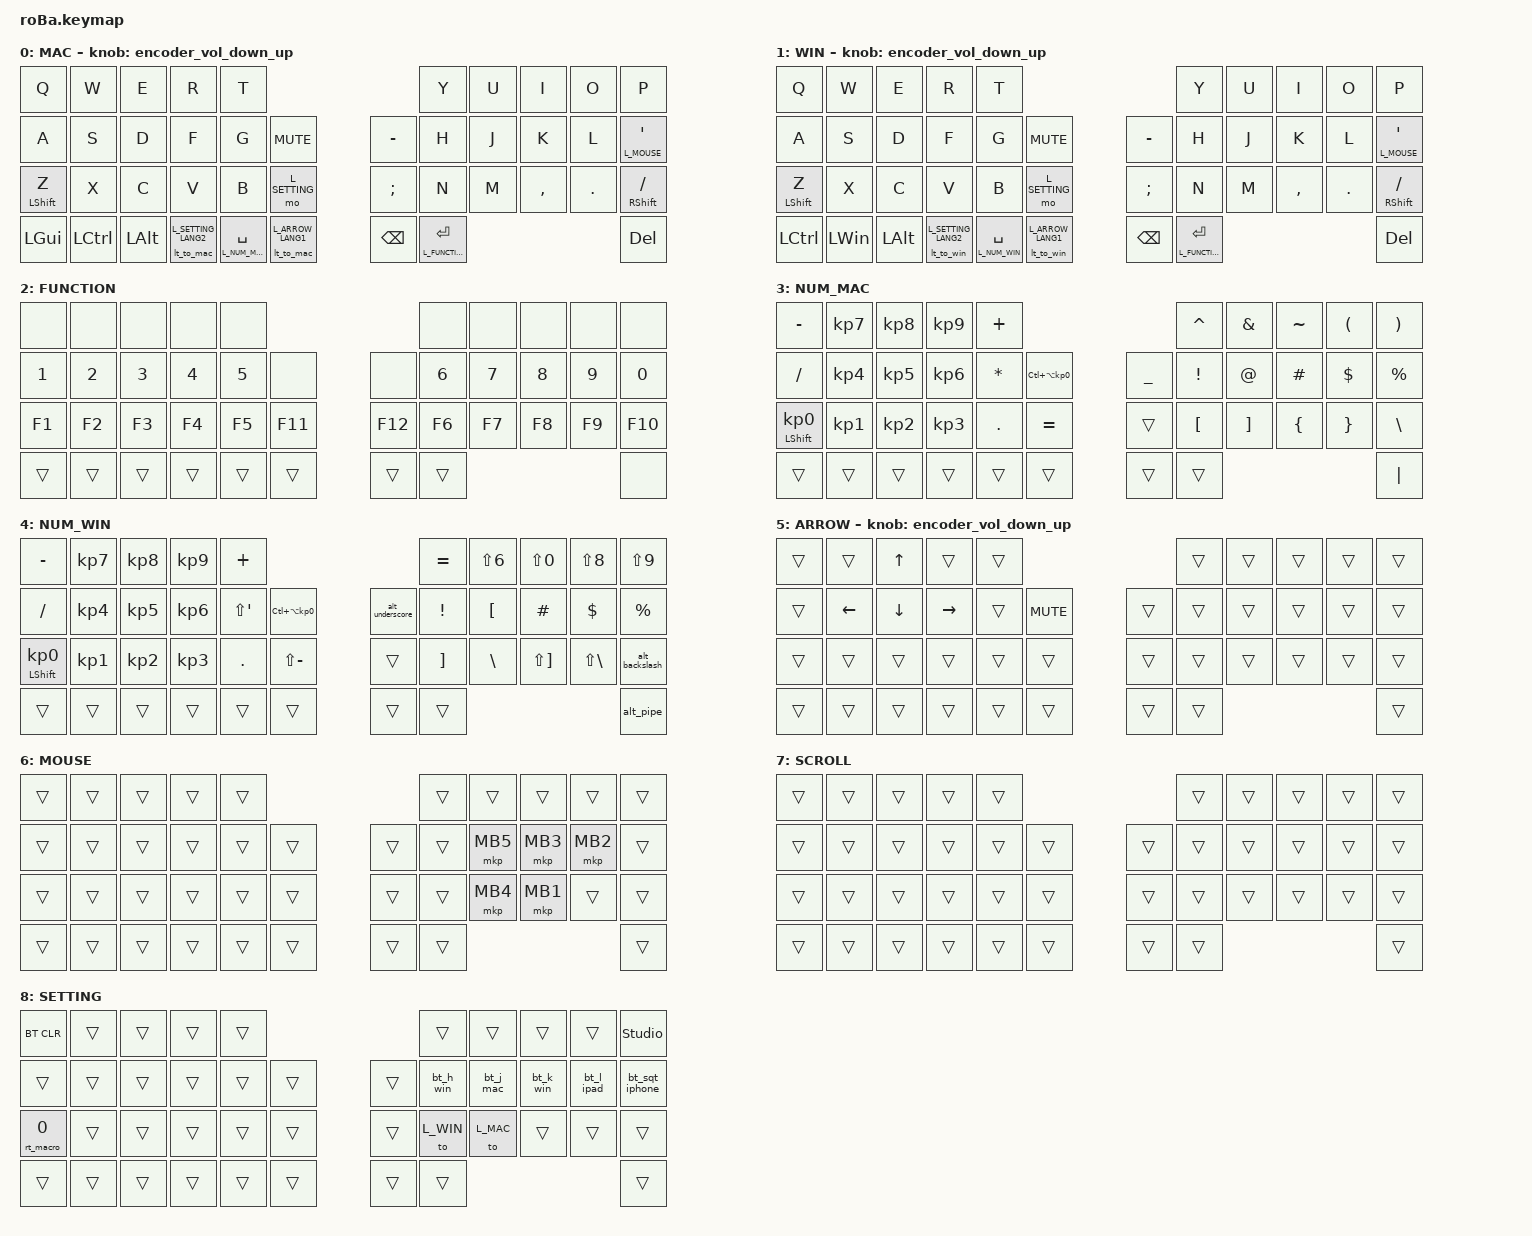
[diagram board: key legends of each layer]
#include <behaviors/runtime-sensor-rotate.dtsi>
#include <behaviors.dtsi>
#include <dt-bindings/zmk/bt.h>
#include <dt-bindings/zmk/keys.h>
#include <dt-bindings/zmk/pointing.h>

#undef ZMK_POINTING_DEFAULT_SCRL_VAL

#define ZMK_POINTING_DEFAULT_SCRL_VAL 80

// レイヤー番号は keymap ノード内の「記述順」で決まる(この #define の数値では
// ない)。順番を入れ替えるときは必ず下の keymap 内のノード順も同時に直すこと。

#define L_MAC       0
#define L_WIN       1
#define L_FUNCTION  2
#define L_NUM_MAC   3
#define L_NUM_WIN   4
#define L_ARROW     5
#define L_MOUSE     6
#define L_SCROLL    7
#define L_SETTING   8

&mt {
    // 変更点1: 高速タイピング時のCtrl/Shift誤爆対策。balanced→tap-preferred

    flavor = "tap-preferred";
    quick-tap-ms = <0>;
};

&trackball {
    // 変更点3: トラックボール誤タップ対策のため automouse-layer は廃止。
    // MOUSEレイヤーはSQTキーのホールドで手動発動する(下記各ベースレイヤー参照)。

    scroll-layers = <L_SCROLL>;

    // arrows {
    //     layers = <3>;
    //     bindings =
    //         <&kp RIGHT_ARROW>,
    //         <&kp LEFT_ARROW>,
    //         <&kp UP_ARROW>,
    //         <&kp DOWN_ARROW>;
    //     tick = <10>;
    //     wait-ms = <5>;
    //     tap-ms = <5>;
    // };
};

/ {
    combos {
        compatible = "zmk,runtime-combos";

        tab {
            bindings = <&kp TAB>;
            key-positions = <11 10>;
        };

        esc {
            bindings = <&kp ESCAPE>;
            key-positions = <0 1>;
        };

        backspace {
            bindings = <&kp BACKSPACE>;
            key-positions = <9 8>;
        };

        delete {
            bindings = <&kp DELETE>;
            key-positions = <20 21>;
        };

        // ベースレイヤー(L_MAC / L_WIN)は常時アクティブなので、MOUSE等が
        // 上に乗っている間もこの layers 判定で正しく振り分けられる。

        redo_mac {
            bindings = <&kp LG(LS(Z))>;
            key-positions = <22 23 24>;
            layers = <L_MAC>;
        };

        redo_win {
            bindings = <&kp LC(LS(Z))>;
            key-positions = <22 23 24>;
            layers = <L_WIN>;
        };

        // 右手だけでスクロール: マウス操作中(SQTホールド=MOUSE層)に L と ; を
        // 同時ホールドすると L_SCROLL が乗り、トラックボールがスクロールに化ける
        // (scroll-layers=<L_SCROLL>)。離すと即MOUSE層に戻る。L/; の単押しは
        // MB2/透過のまま(遅延ゼロ)。マウス層限定なので通常入力には影響しない。

        scroll_hold {
            bindings = <&mo L_SCROLL>;
            key-positions = <20 28>;
            layers = <L_MOUSE>;
            timeout-ms = <200>;
        };
    };

    macros {
        to_mac_default: to_mac_default {
            compatible = "zmk,behavior-macro-one-param";
            #binding-cells = <1>;
            bindings = <&to L_MAC &macro_param_1to1 &kp MACRO_PLACEHOLDER>;
            label = "TO_MAC_DEFAULT";
        };

        to_win_default: to_win_default {
            compatible = "zmk,behavior-macro-one-param";
            #binding-cells = <1>;
            bindings = <&to L_WIN &macro_param_1to1 &kp MACRO_PLACEHOLDER>;
            label = "TO_WIN_DEFAULT";
        };

        // BT profile -> base-layer routing. Key position fixed (H/J/K/L/SQT),
        // BT_SEL number fixed; only the &to base-layer differs (案B 2026-06-24).

        bt_h_win: bt_h_win {
            compatible = "zmk,behavior-macro";
            #binding-cells = <0>;
            bindings = <&bt BT_SEL 4 &to L_WIN>;
            label = "BT_H_WIN";
        };

        bt_j_mac: bt_j_mac {
            compatible = "zmk,behavior-macro";
            #binding-cells = <0>;
            bindings = <&bt BT_SEL 0 &to L_MAC>;
            label = "BT_J_MAC";
        };

        bt_k_win: bt_k_win {
            compatible = "zmk,behavior-macro";
            #binding-cells = <0>;
            bindings = <&bt BT_SEL 1 &to L_WIN>;
            label = "BT_K_WIN";
        };

        bt_l_ipad: bt_l_ipad {
            compatible = "zmk,behavior-macro";
            #binding-cells = <0>;
            bindings = <&bt BT_SEL 2 &to L_MAC>;
            label = "BT_L_IPAD";
        };

        bt_sqt_iphone: bt_sqt_iphone {
            compatible = "zmk,behavior-macro";
            #binding-cells = <0>;
            bindings = <&bt BT_SEL 3 &to L_MAC>;
            label = "BT_SQT_IPHONE";
        };

        // 変更点4: _ \ | はUSキーコードの組み合わせではJIS誤認識状態で
        // 物理的に作れない(JIS配列側にしかない専用キーが必要なため)。
        // Windowsの「Alt+テンキーコード」Unicode直接入力機能で代替する。
        // 注意: ホストPCのNumLockがON、かつAltキーの押下/解放が正しく
        // 届く経路であることが前提(多段リモートデスクトップだと不安定な場合あり)。

        alt_underscore: alt_underscore {
            compatible = "zmk,behavior-macro";
            #binding-cells = <0>;
            bindings =
                <&macro_press>,
                <&kp LALT>,
                <&macro_tap>,
                <&kp KP_NUMBER_0>,
                <&macro_tap>,
                <&kp KP_NUMBER_0>,
                <&macro_tap>,
                <&kp KP_NUMBER_9>,
                <&macro_tap>,
                <&kp KP_NUMBER_5>,
                <&macro_release>,
                <&kp LALT>;

            label = "ALT_UNDERSCORE_WIN";
        };

        alt_backslash: alt_backslash {
            compatible = "zmk,behavior-macro";
            #binding-cells = <0>;
            bindings =
                <&macro_press>,
                <&kp LALT>,
                <&macro_tap>,
                <&kp KP_NUMBER_0>,
                <&macro_tap>,
                <&kp KP_NUMBER_0>,
                <&macro_tap>,
                <&kp KP_NUMBER_9>,
                <&macro_tap>,
                <&kp KP_NUMBER_2>,
                <&macro_release>,
                <&kp LALT>;

            label = "ALT_BACKSLASH_WIN";
        };

        alt_pipe: alt_pipe {
            compatible = "zmk,behavior-macro";
            #binding-cells = <0>;
            bindings =
                <&macro_press>,
                <&kp LALT>,
                <&macro_tap>,
                <&kp KP_NUMBER_0>,
                <&macro_tap>,
                <&kp KP_NUMBER_1>,
                <&macro_tap>,
                <&kp KP_NUMBER_2>,
                <&macro_tap>,
                <&kp KP_NUMBER_4>,
                <&macro_release>,
                <&kp LALT>;

            label = "ALT_PIPE_WIN";
        };
    };

    behaviors {
        rt_macro: rt_macro {
            compatible = "zmk,behavior-runtime-macro";
            #binding-cells = <1>;
        };

        lt_to_mac: lt_to_mac {
            compatible = "zmk,behavior-runtime-hold-tap";
            label = "LAYER_TAP_TO_MAC";
            bindings = <&mo>, <&to_mac_default>;

            #binding-cells = <2>;
            tapping-term-ms = <200>;
        };

        lt_to_win: lt_to_win {
            compatible = "zmk,behavior-runtime-hold-tap";
            label = "LAYER_TAP_TO_WIN";
            bindings = <&mo>, <&to_win_default>;

            #binding-cells = <2>;
            tapping-term-ms = <200>;
        };

        encoder_msc_down_up: encoder_msc_down_up {
            compatible = "zmk,behavior-sensor-rotate";
            label = "ENCODER_MSC_DOWN_UP";
            #sensor-binding-cells = <0>;
            bindings = <&msc SCRL_UP>, <&msc SCRL_DOWN>;

            tap-ms = <50>;
        };

        encoder_vol_down_up: encoder_vol_down_up {
            compatible = "zmk,behavior-runtime-sensor-rotate";
            label = "ENCODER_VOL_DOWN_UP";
            #sensor-binding-cells = <0>;
            cw-binding = <&kp C_VOLUME_DOWN>;
            ccw-binding = <&kp C_VOLUME_UP>;
            tap-ms = <20>;
        };
    };

    keymap {
        compatible = "zmk,keymap";

        MAC {
            bindings = <
&kp Q             &kp W      &kp E         &kp R                       &kp T                                                             &kp Y                 &kp U  &kp I      &kp O    &kp P
&kp A             &kp S      &kp D         &kp F                       &kp G                &kp K_MUTE                    &kp MINUS      &kp H                 &kp J  &kp K      &kp L    &lt L_MOUSE SQT
&mt LEFT_SHIFT Z  &kp X      &kp C         &kp V                       &kp B                &mo L_SETTING                 &kp SEMICOLON  &kp N                 &kp M  &kp COMMA  &kp DOT  &mt RIGHT_SHIFT SLASH
&kp LEFT_GUI      &kp LCTRL  &kp LEFT_ALT  &lt_to_mac L_SETTING LANG2  &lt L_NUM_MAC SPACE  &lt_to_mac L_ARROW LANG1      &kp BACKSPACE  &lt L_FUNCTION ENTER                             &kp DELETE
            >;

            sensor-bindings = <&encoder_vol_down_up>;
        };

        WIN {
            bindings = <
&kp Q             &kp W         &kp E         &kp R                       &kp T                                                             &kp Y                 &kp U  &kp I      &kp O    &kp P
&kp A             &kp S         &kp D         &kp F                       &kp G                &kp K_MUTE                    &kp MINUS      &kp H                 &kp J  &kp K      &kp L    &lt L_MOUSE SQT
&mt LEFT_SHIFT Z  &kp X         &kp C         &kp V                       &kp B                &mo L_SETTING                 &kp SEMICOLON  &kp N                 &kp M  &kp COMMA  &kp DOT  &mt RIGHT_SHIFT SLASH
&kp LCTRL         &kp LEFT_WIN  &kp LEFT_ALT  &lt_to_win L_SETTING LANG2  &lt L_NUM_WIN SPACE  &lt_to_win L_ARROW LANG1      &kp BACKSPACE  &lt L_FUNCTION ENTER                             &kp DELETE
            >;

            sensor-bindings = <&encoder_vol_down_up>;
        };

        FUNCTION {
            bindings = <
&none         &none         &none         &none         &none                               &none         &none         &none         &none         &none
&kp NUMBER_1  &kp NUMBER_2  &kp NUMBER_3  &kp NUMBER_4  &kp NUMBER_5  &none        &none    &kp NUMBER_6  &kp NUMBER_7  &kp NUMBER_8  &kp NUMBER_9  &kp NUMBER_0
&kp F1        &kp F2        &kp F3        &kp F4        &kp F5        &kp F11      &kp F12  &kp F6        &kp F7        &kp F8        &kp F9        &kp F10
&trans        &trans        &trans        &trans        &trans        &trans       &trans   &trans                                                  &none
            >;
        };

        NUM_MAC {
            bindings = <
&kp MINUS                   &kp KP_NUMBER_7  &kp KP_NUMBER_8  &kp KP_NUMBER_9  &kp PLUS                                                   &kp CARET         &kp AMPERSAND      &kp TILDE       &kp LEFT_PARENTHESIS  &kp RIGHT_PARENTHESIS
&kp SLASH                   &kp KP_NUMBER_4  &kp KP_NUMBER_5  &kp KP_NUMBER_6  &kp ASTERISK  &kp LC(LA(KP_NUMBER_0))      &kp UNDERSCORE  &kp EXCLAMATION   &kp AT_SIGN        &kp HASH        &kp DOLLAR            &kp PERCENT
&mt LEFT_SHIFT KP_NUMBER_0  &kp KP_NUMBER_1  &kp KP_NUMBER_2  &kp KP_NUMBER_3  &kp PERIOD    &kp EQUAL                    &trans          &kp LEFT_BRACKET  &kp RIGHT_BRACKET  &kp LEFT_BRACE  &kp RIGHT_BRACE       &kp BACKSLASH
&trans                      &trans           &trans           &trans           &trans        &trans                       &trans          &trans                                                                     &kp PIPE
            >;
        };

        // 変更点4: Windows直結時(JIS誤認識状態)でも記号が正しく出るよう
        // キーコードを補正したNUMレイヤー。WINレイヤーのSPACEのみここを参照する
        // (MACは通常のNUM_MACのまま)。
        // 数字・ピリオド・カンマ等、JISとUSで差が出ない部分はNUM_MACと共通。
        // _ \ | の3つはUSキーコードの組み合わせでは物理的に作れないため、
        // Alt+テンキーコードによるUnicode直接入力マクロで代替している。

        NUM_WIN {
            bindings = <
&kp MINUS                   &kp KP_NUMBER_7  &kp KP_NUMBER_8  &kp KP_NUMBER_9  &kp PLUS                                                   &kp EQUAL        &kp LS(NUMBER_6)  &kp LS(NUMBER_0)  &kp LS(NUMBER_8)  &kp LS(NUMBER_9)
&kp SLASH                   &kp KP_NUMBER_4  &kp KP_NUMBER_5  &kp KP_NUMBER_6  &kp LS(SQT)  &kp LC(LA(KP_NUMBER_0))      &alt_underscore  &kp EXCLAMATION  &kp LBKT          &kp HASH          &kp DOLLAR        &kp PERCENT
&mt LEFT_SHIFT KP_NUMBER_0  &kp KP_NUMBER_1  &kp KP_NUMBER_2  &kp KP_NUMBER_3  &kp PERIOD   &kp LS(MINUS)                &trans           &kp RBKT         &kp BSLH          &kp LS(RBKT)      &kp LS(BSLH)      &alt_backslash
&trans                      &trans           &trans           &trans           &trans       &trans                       &trans           &trans                                                                 &alt_pipe
            >;
        };

        ARROW {
            bindings = <
&trans  &trans          &kp UP_ARROW    &trans           &trans                          &trans  &trans  &trans  &trans  &trans
&trans  &kp LEFT_ARROW  &kp DOWN_ARROW  &kp RIGHT_ARROW  &trans  &kp C_MUTE      &trans  &trans  &trans  &trans  &trans  &trans
&trans  &trans          &trans          &trans           &trans  &trans          &trans  &trans  &trans  &trans  &trans  &trans
&trans  &trans          &trans          &trans           &trans  &trans          &trans  &trans                          &trans
            >;

            sensor-bindings = <&encoder_vol_down_up>;
        };

        // MOUSE層はMac用ショートカットに一本化(旧APPLE_MOUSEの条件付きレイヤーは廃止)。
        // 上段の LC(LEFT/RIGHT) はMacのデスクトップ切替、LG(TAB) はCmd+Tab。

        MOUSE {
            bindings = <
&trans  &trans  &trans  &trans  &trans                      &trans  &trans    &trans    &trans    &trans
&trans  &trans  &trans  &trans  &trans  &trans      &trans  &trans  &mkp MB5  &mkp MB3  &mkp MB2  &trans
&trans  &trans  &trans  &trans  &trans  &trans      &trans  &trans  &mkp MB4  &mkp MB1  &trans    &trans
&trans  &trans  &trans  &trans  &trans  &trans      &trans  &trans                                &trans
            >;
        };

        // SCROLL層は scroll-layers=<L_SCROLL> の受け皿専用。キーは全て透過で、
        // 下のMOUSE層がそのまま効く。

        SCROLL {
            bindings = <
&trans  &trans  &trans  &trans  &trans                      &trans  &trans  &trans  &trans  &trans
&trans  &trans  &trans  &trans  &trans  &trans      &trans  &trans  &trans  &trans  &trans  &trans
&trans  &trans  &trans  &trans  &trans  &trans      &trans  &trans  &trans  &trans  &trans  &trans
&trans  &trans  &trans  &trans  &trans  &trans      &trans  &trans                          &trans
            >;
        };

        SETTING {
            bindings = <
&bt BT_CLR   &trans  &trans  &trans  &trans                      &trans     &trans     &trans     &trans      &studio_unlock
&trans       &trans  &trans  &trans  &trans  &trans      &trans  &bt_h_win  &bt_j_mac  &bt_k_win  &bt_l_ipad  &bt_sqt_iphone
&rt_macro 0  &trans  &trans  &trans  &trans  &trans      &trans  &to L_WIN  &to L_MAC  &trans     &trans      &trans
&trans       &trans  &trans  &trans  &trans  &trans      &trans  &trans                                       &trans
            >;
        };
    };
};
